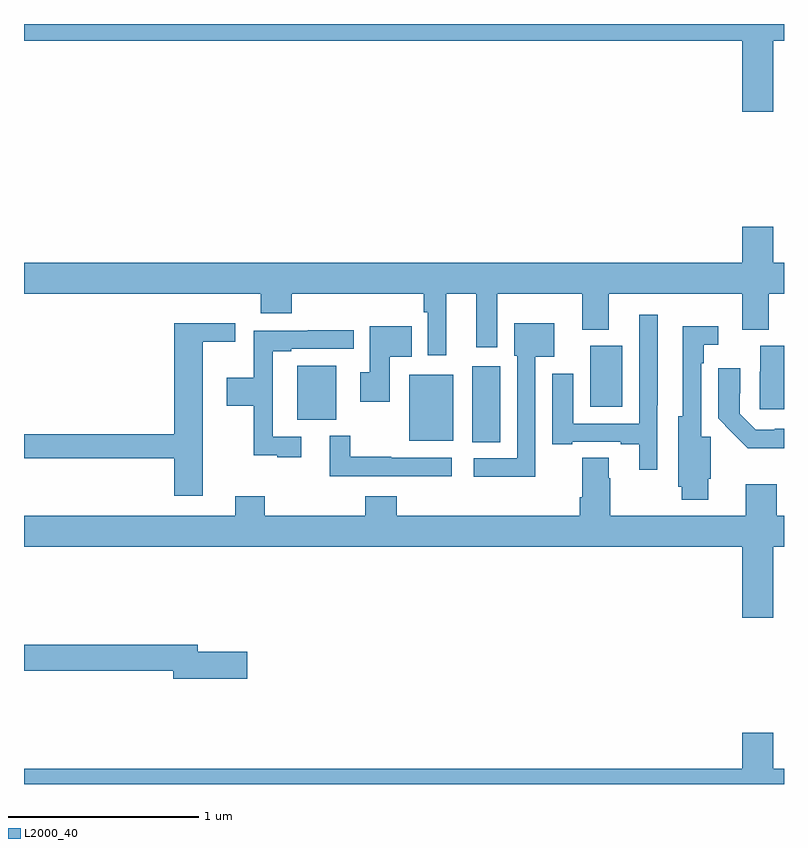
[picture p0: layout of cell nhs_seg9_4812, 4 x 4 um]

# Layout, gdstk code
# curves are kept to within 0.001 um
import gdstk
lib = gdstk.Library(unit=1e-6, precision=1e-09)
def R(c, l, rs):  # rectangles x0, y0, x1, y1
    for r in rs: c.add(gdstk.rectangle(r[:2], r[2:], *l))
def P(c, l, *ps):  # polygons
    for p in ps: c.add(gdstk.Polygon(p, *l))
L2000_40 = (2000, 40)

nhs_seg9_4812 = lib.new_cell('nhs_seg9_4812')
R(nhs_seg9_4812, L2000_40, [(391.358,1202.299,391.507,1202.698), (391.028,1202.306,391.258,1202.653), (390.437,1202.417,390.643,1202.701), (391.979,1202.486,392.149,1202.806)])
P(nhs_seg9_4812, L2000_40, [(392.944,1204.412),(393,1204.412),(393,1204.5),(389,1204.5),(389,1204.412),(392.78,1204.412),(392.78,1204.038),(392.944,1204.038)],
  [(391.222,1203.08),(391.379,1203.08),(391.379,1202.799),(391.492,1202.799),(391.492,1203.08),(391.937,1203.08),(391.937,1202.891),(392.077,1202.891),(392.077,1203.08),(392.78,1203.08),(392.78,1202.891),(392.92,1202.891),(392.92,1203.08),(393,1203.08),(393,1203.244),(392.944,1203.244),(392.944,1203.433),(392.78,1203.433),(392.78,1203.244),(389,1203.244),(389,1203.08),(390.245,1203.08),(390.245,1202.978),(390.41,1202.978),(390.41,1203.08),(391.105,1203.08),(391.105,1202.984),(391.125,1202.984),(391.125,1202.757),(391.222,1202.757)],
  [(392.334,1202.494),(392.335,1202.494),(392.335,1202.971),(392.238,1202.971),(392.238,1202.397),(391.891,1202.397),(391.891,1202.659),(391.781,1202.659),(391.781,1202.289),(391.885,1202.289),(391.885,1202.301),(392.141,1202.301),(392.141,1202.289),(392.237,1202.289),(392.237,1202.154),(392.334,1202.154)],
  [(391.692,1202.75),(391.792,1202.75),(391.792,1202.926),(391.58,1202.926),(391.58,1202.754),(391.596,1202.754),(391.596,1202.214),(391.368,1202.214),(391.368,1202.117),(391.692,1202.117)],
  [(389.941,1202.828),(390.112,1202.828),(390.112,1202.926),(389.792,1202.926),(389.792,1202.342),(389,1202.342),(389,1202.214),(389.792,1202.214),(389.792,1202.016),(389.941,1202.016)],
  [(390.925,1202.75),(391.04,1202.75),(391.04,1202.908),(390.821,1202.908),(390.821,1202.667),(390.771,1202.667),(390.771,1202.511),(390.925,1202.511)],
  [(392.602,1202.107),(392.615,1202.107),(392.615,1202.328),(392.565,1202.328),(392.565,1202.714),(392.577,1202.714),(392.577,1202.811),(392.653,1202.811),(392.653,1202.908),(392.468,1202.908),(392.468,1202.436),(392.444,1202.436),(392.444,1202.064),(392.461,1202.064),(392.461,1201.997),(392.602,1201.997)],
  [(390.46,1202.328),(390.309,1202.328),(390.309,1202.778),(390.406,1202.778),(390.406,1202.79),(390.736,1202.79),(390.736,1202.888),(390.493,1202.888),(390.493,1202.886),(390.208,1202.886),(390.208,1202.638),(390.066,1202.638),(390.066,1202.491),(390.208,1202.491),(390.208,1202.231),(390.332,1202.231),(390.332,1202.22),(390.46,1202.22)],
  [(393,1202.806),(392.876,1202.806),(392.876,1202.67),(392.873,1202.67),(392.873,1202.472),(393,1202.472)],
  [(393,1202.369),(392.95,1202.369),(392.95,1202.364),(392.85,1202.364),(392.766,1202.448),(392.766,1202.556),(392.77,1202.556),(392.77,1202.689),(392.654,1202.689),(392.654,1202.424),(392.809,1202.267),(393,1202.267)],
  [(391.252,1202.217),(390.932,1202.217),(390.932,1202.222),(390.718,1202.222),(390.718,1202.332),(390.608,1202.332),(390.608,1202.121),(391.252,1202.121)],
  [(392.944,1201.748),(393,1201.748),(393,1201.912),(392.962,1201.912),(392.962,1202.077),(392.798,1202.077),(392.798,1201.912),(392.085,1201.912),(392.085,1202.108),(392.077,1202.108),(392.077,1202.216),(391.937,1202.216),(391.937,1202.008),(391.925,1202.008),(391.925,1201.912),(390.962,1201.912),(390.962,1202.014),(390.797,1202.014),(390.797,1201.912),(390.266,1201.912),(390.266,1202.014),(390.113,1202.014),(390.113,1201.912),(389,1201.912),(389,1201.748),(392.78,1201.748),(392.78,1201.374),(392.944,1201.374)],
  [(390.175,1201.196),(389.914,1201.196),(389.914,1201.232),(389,1201.232),(389,1201.096),(389.786,1201.096),(389.786,1201.054),(390.175,1201.054)],
  [(393,1200.58),(392.944,1200.58),(392.944,1200.769),(392.78,1200.769),(392.78,1200.58),(389,1200.58),(389,1200.5),(393,1200.5)])

lib.write_gds('nhs_seg9_4812.gds')
